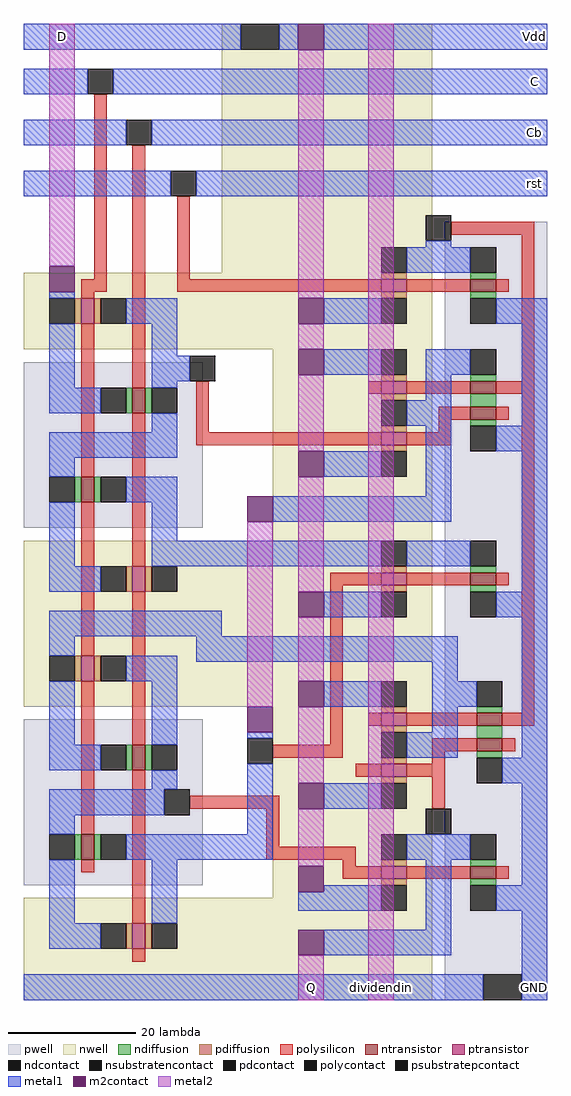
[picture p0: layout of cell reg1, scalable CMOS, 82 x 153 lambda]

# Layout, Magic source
magic
tech scmos
<< pwell >>
rect -113 -102 -85 -76
rect -113 -158 -85 -132
rect -47 -176 -31 -54
<< nwell >>
rect -82 -62 -49 -23
rect -113 -74 -49 -62
rect -74 -104 -49 -74
rect -113 -130 -49 -104
rect -74 -160 -49 -130
rect -113 -176 -49 -160
<< polysilicon >>
rect -102 -63 -100 -34
rect -104 -65 -100 -63
rect -104 -66 -102 -65
rect -104 -94 -102 -70
rect -96 -80 -94 -42
rect -89 -63 -87 -50
rect -46 -56 -33 -54
rect -89 -65 -57 -63
rect -53 -65 -43 -63
rect -39 -65 -37 -63
rect -35 -79 -33 -56
rect -104 -122 -102 -98
rect -96 -108 -94 -84
rect -86 -87 -84 -79
rect -59 -81 -57 -79
rect -53 -81 -43 -79
rect -39 -81 -33 -79
rect -48 -85 -43 -83
rect -39 -85 -37 -83
rect -48 -87 -46 -85
rect -86 -89 -57 -87
rect -53 -89 -46 -87
rect -65 -111 -57 -109
rect -53 -111 -43 -109
rect -39 -111 -37 -109
rect -104 -150 -102 -126
rect -96 -136 -94 -112
rect -65 -136 -63 -111
rect -35 -131 -33 -81
rect -59 -133 -57 -131
rect -53 -133 -42 -131
rect -38 -133 -33 -131
rect -74 -138 -63 -136
rect -49 -137 -42 -135
rect -38 -137 -36 -135
rect -49 -139 -47 -137
rect -104 -156 -102 -154
rect -96 -164 -94 -140
rect -61 -141 -57 -139
rect -53 -141 -47 -139
rect -87 -146 -73 -144
rect -49 -146 -47 -141
rect -75 -152 -73 -146
rect -75 -154 -61 -152
rect -63 -155 -61 -154
rect -63 -157 -57 -155
rect -53 -157 -43 -155
rect -39 -157 -37 -155
rect -96 -170 -94 -168
<< ndiffusion >>
rect -43 -63 -39 -62
rect -43 -66 -39 -65
rect -43 -79 -39 -78
rect -97 -84 -96 -80
rect -94 -84 -93 -80
rect -105 -98 -104 -94
rect -102 -98 -101 -94
rect -43 -83 -39 -81
rect -43 -86 -39 -85
rect -43 -109 -39 -108
rect -97 -140 -96 -136
rect -94 -140 -93 -136
rect -43 -112 -39 -111
rect -42 -131 -38 -130
rect -42 -135 -38 -133
rect -105 -154 -104 -150
rect -102 -154 -101 -150
rect -42 -138 -38 -137
rect -43 -155 -39 -154
rect -43 -158 -39 -157
<< pdiffusion >>
rect -105 -70 -104 -66
rect -102 -70 -101 -66
rect -57 -63 -53 -62
rect -57 -66 -53 -65
rect -57 -79 -53 -78
rect -57 -82 -53 -81
rect -57 -87 -53 -86
rect -57 -90 -53 -89
rect -97 -112 -96 -108
rect -94 -112 -93 -108
rect -57 -109 -53 -108
rect -105 -126 -104 -122
rect -102 -126 -101 -122
rect -57 -112 -53 -111
rect -57 -131 -53 -130
rect -57 -134 -53 -133
rect -57 -139 -53 -138
rect -57 -142 -53 -141
rect -57 -155 -53 -154
rect -57 -158 -53 -157
rect -97 -168 -96 -164
rect -94 -168 -93 -164
<< metal1 >>
rect -113 -27 -79 -23
rect -73 -27 -70 -23
rect -66 -27 -31 -23
rect -113 -34 -103 -30
rect -99 -34 -31 -30
rect -113 -42 -97 -38
rect -93 -42 -31 -38
rect -113 -50 -90 -46
rect -86 -50 -31 -46
rect -50 -58 -46 -57
rect -53 -62 -43 -58
rect -109 -66 -105 -65
rect -97 -70 -89 -66
rect -66 -70 -57 -66
rect -39 -70 -31 -66
rect -109 -80 -105 -70
rect -93 -75 -89 -70
rect -93 -79 -87 -75
rect -66 -78 -57 -74
rect -50 -78 -43 -74
rect -93 -80 -89 -79
rect -109 -84 -101 -80
rect -50 -82 -46 -78
rect -93 -87 -89 -84
rect -53 -86 -46 -82
rect -35 -86 -31 -70
rect -109 -91 -89 -87
rect -109 -94 -105 -91
rect -66 -94 -57 -90
rect -97 -98 -89 -94
rect -50 -97 -46 -86
rect -39 -90 -31 -86
rect -109 -108 -105 -98
rect -93 -104 -89 -98
rect -74 -101 -46 -97
rect -93 -108 -57 -104
rect -53 -108 -43 -104
rect -109 -112 -101 -108
rect -35 -112 -31 -90
rect -109 -119 -82 -115
rect -66 -116 -57 -112
rect -39 -116 -31 -112
rect -109 -122 -105 -119
rect -97 -126 -89 -122
rect -86 -123 -45 -119
rect -49 -126 -45 -123
rect -109 -136 -105 -126
rect -93 -136 -89 -126
rect -66 -130 -57 -126
rect -49 -130 -42 -126
rect -109 -140 -101 -136
rect -93 -143 -89 -140
rect -49 -134 -45 -130
rect -78 -135 -74 -134
rect -53 -138 -45 -134
rect -35 -138 -31 -116
rect -109 -147 -91 -143
rect -109 -150 -105 -147
rect -78 -150 -74 -139
rect -38 -142 -31 -138
rect -66 -146 -57 -142
rect -97 -154 -74 -150
rect -53 -154 -43 -150
rect -109 -164 -105 -154
rect -93 -164 -89 -154
rect -66 -159 -57 -158
rect -70 -162 -57 -159
rect -109 -168 -101 -164
rect -50 -165 -46 -154
rect -35 -158 -31 -142
rect -39 -162 -31 -158
rect -66 -169 -46 -165
rect -113 -176 -41 -172
rect -35 -176 -31 -162
<< metal2 >>
rect -109 -61 -105 -23
rect -70 -66 -66 -27
rect -70 -74 -66 -70
rect -70 -90 -66 -78
rect -78 -130 -74 -101
rect -70 -112 -66 -94
rect -70 -126 -66 -116
rect -70 -142 -66 -130
rect -70 -155 -66 -146
rect -70 -176 -66 -169
rect -59 -176 -55 -23
<< ntransistor >>
rect -43 -65 -39 -63
rect -96 -84 -94 -80
rect -104 -98 -102 -94
rect -43 -81 -39 -79
rect -43 -85 -39 -83
rect -43 -111 -39 -109
rect -96 -140 -94 -136
rect -42 -133 -38 -131
rect -42 -137 -38 -135
rect -104 -154 -102 -150
rect -43 -157 -39 -155
<< ptransistor >>
rect -104 -70 -102 -66
rect -57 -65 -53 -63
rect -57 -81 -53 -79
rect -57 -89 -53 -87
rect -96 -112 -94 -108
rect -57 -111 -53 -109
rect -104 -126 -102 -122
rect -57 -133 -53 -131
rect -57 -141 -53 -139
rect -57 -157 -53 -155
rect -96 -168 -94 -164
<< polycontact >>
rect -103 -34 -99 -30
rect -97 -42 -93 -38
rect -90 -50 -86 -46
rect -50 -57 -46 -53
rect -87 -79 -83 -75
rect -78 -139 -74 -135
rect -91 -147 -87 -143
rect -50 -150 -46 -146
<< ndcontact >>
rect -43 -62 -39 -58
rect -43 -70 -39 -66
rect -43 -78 -39 -74
rect -101 -84 -97 -80
rect -93 -84 -89 -80
rect -109 -98 -105 -94
rect -101 -98 -97 -94
rect -43 -90 -39 -86
rect -43 -108 -39 -104
rect -101 -140 -97 -136
rect -93 -140 -89 -136
rect -43 -116 -39 -112
rect -42 -130 -38 -126
rect -109 -154 -105 -150
rect -101 -154 -97 -150
rect -42 -142 -38 -138
rect -43 -154 -39 -150
rect -43 -162 -39 -158
<< pdcontact >>
rect -109 -70 -105 -66
rect -101 -70 -97 -66
rect -57 -62 -53 -58
rect -57 -70 -53 -66
rect -57 -78 -53 -74
rect -57 -86 -53 -82
rect -57 -94 -53 -90
rect -57 -108 -53 -104
rect -101 -112 -97 -108
rect -93 -112 -89 -108
rect -109 -126 -105 -122
rect -101 -126 -97 -122
rect -57 -116 -53 -112
rect -57 -130 -53 -126
rect -57 -138 -53 -134
rect -57 -146 -53 -142
rect -57 -154 -53 -150
rect -57 -162 -53 -158
rect -101 -168 -97 -164
rect -93 -168 -89 -164
<< m2contact >>
rect -70 -27 -66 -23
rect -109 -65 -105 -61
rect -70 -70 -66 -66
rect -70 -78 -66 -74
rect -70 -94 -66 -90
rect -78 -101 -74 -97
rect -70 -116 -66 -112
rect -70 -130 -66 -126
rect -78 -134 -74 -130
rect -70 -146 -66 -142
rect -70 -159 -66 -155
rect -70 -169 -66 -165
<< psubstratepcontact >>
rect -41 -176 -35 -172
<< nsubstratencontact >>
rect -79 -27 -73 -23
<< labels >>
rlabel metal2 -57 -174 -57 -174 1 dividendin
rlabel metal2 -68 -174 -68 -174 1 Q
rlabel metal1 -33 -174 -33 -174 1 GND
rlabel metal1 -33 -25 -33 -25 7 Vdd
rlabel metal2 -107 -25 -107 -25 1 D
rlabel metal1 -33 -32 -33 -32 7 C
rlabel metal1 -33 -40 -33 -40 7 Cb
rlabel metal1 -33 -48 -33 -48 7 rst
<< end >>
